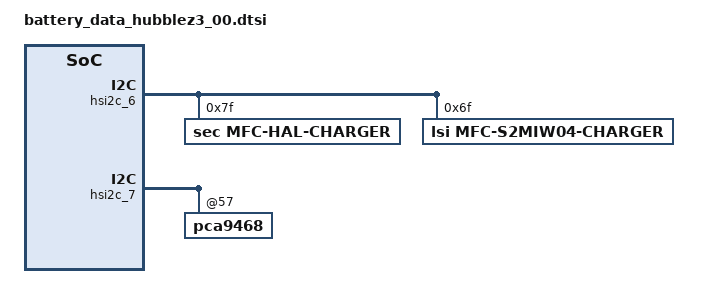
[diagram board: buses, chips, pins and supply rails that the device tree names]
/* SAMSUNG UNIVERSAL9830 board device tree source
 *
 * Copyright (c) 2018 Samsung Electronics Co., Ltd.
 *		http://www.samsung.com
 *
 * This program is free software; you can redistribute it and/or modify
 * it under the terms of the GNU General Public License version 2 as
 * published by the Free Software Foundation.
 */

#include "battery_data_hubble_common.dtsi"

/ {
	fragment@battery {
		target-path = "/";
		__overlay__ {
			battery {
				battery,temp_table_adc = <319 366 423 491 569 663 769 895 1039 1202 1376 1580
					1794 2034 2276 2506 2738 2950 3152 3327 3466 3595 3695>;
				battery,temp_table_data = <900 850 800 750 700 650 600 550 500 450 400 350
					300 250 200 150 100 50 0 (-50) (-100) (-150) (-200)>;

				battery,usb_temp_table_adc = <299 349 410 481 562 659 769 898 1042 1207 1385 1585
					1799 2032 2267 2498 2720 2927 3118 3286 3409 3544 3625>;
				battery,usb_temp_table_data = <900 850 800 750 700 650 600 550 500 450 400 350
					300 250 200 150 100 50 0 (-50) (-100) (-150) (-200)>;

				battery,chg_temp_table_adc = <272 320 378 447 528 619 727 854 998 1163 1336 1538
					1757 1998 2245 2480 2703 2922 3122 3303 3449 3585 3667>;
				battery,chg_temp_table_data = <900 850 800 750 700 650 600 550 500 450 400 350
					300 250 200 150 100 50 0 (-50) (-100) (-150) (-200)>;

				battery,wpc_temp_table_adc = <319 366 423 491 569 663 769 895 1039 1202 1376 1580
					1794 2034 2276 2506 2738 2950 3152 3327 3466 3595 3695>;
				battery,wpc_temp_table_data = <900 850 800 750 700 650 600 550 500 450 400 350
					300 250 200 150 100 50 0 (-50) (-100) (-150) (-200)>;

				battery,dchg_temp_table_adc = <107916 129030 154836 185334 220524 262752 309672 363630 429318 502044 579462 670956
					767142 875058 985320 1090890 1191768 1287954 1379448 1459212 1527246 1585896 1632816>;
				battery,dchg_temp_table_data = <900 850 800 750 700 650 600 550 500 450 400 350
					300 250 200 150 100 50 0 (-50) (-100) (-150) (-200)>;

				battery,swelling_low_temp_current = <1150>;	/* 0.24C */
				battery,swelling_low_temp_current_2nd = <450>;	/* 0.1C */
				battery,swelling_low_temp_current_3rd = <3450>;	/* 0.72C */
				battery,swelling_low_temp_topoff = <242>;	/* 0.05C */
				battery,swelling_high_temp_current = <1700>;	/* 0.36C */
				battery,swelling_high_temp_topoff = <242>;	/* 0.05C */
				battery,swelling_wc_high_temp_current = <1150>;	/* 0.24C */
				battery,swelling_wc_low_temp_current = <1150>;	/* 0.24C */
 				battery,swelling_wc_low_temp_current_2nd = <450>;	/* 0.1C */
				battery,swelling_wc_low_temp_current_3rd = <3450>;	/* 0.72C */

				battery,max_charging_charge_power = <45000>; /* 45W */
				battery,battery_full_capacity = <5000>;

				battery,dchg_high_temp = <570>;
				battery,dchg_high_temp_recovery = <440>;

				battery,dc_step_chg_cond_vol = <4130 4290 4380>; /*<45w 3step> STEP_CHARGING_CONDITION_VOLTAGE */ 
				battery,dc_step_chg_cond_iin = <3160 2255 0>; /* <45w 3step> STEP_CHARGING_CONDITION_INPUT_CURRENT */
				battery,dc_step_chg_val_vfloat = <4130 4290 4380>; /* <45w 3step> STEP_CHARGING_CONDITION_FLOAT_VOLTAGE */
				battery,dc_step_chg_val_iout = <8000 6320 4510>; /* <45w 3step> */
				battery,dc_step_chg_cond_soc = <20 60 100>; /* <45w 3step> STEP_CHARGING_CONDITION_SOC */

				battery,full_condition_vcell = <4330>;
				/* cycle, chg_float_voltage, recharge_condition_vcell, full_condition_vcell, full_condition_soc, step charging condition */
				battery,age_data = <0 4380 4310 4330 93 45
						300 4360 4290 4310 92 45
						400 4340 4270 4290 91 45
						700 4320 4250 4270 90 45
						1000 4270 4200 4220 89 45>;
			};

			max77705-fuelgauge {
				fuelgauge,fg_resistor = <5>;
				fuelgauge,qrtable20 = <0x1000>;
				fuelgauge,qrtable30 = <0x0B00>;
				fuelgauge,capacity = <0x0708>;
				fuelgauge,ttf_capacity = <5000>;
			};

			cable-info {
				full_check_current_1st = <727>;
				full_check_current_2nd = <242>;
			};
		};
	};
};

&hsi2c_6 {
	mfc-hal-charger@7f {
		compatible = "sec,mfc-hal-charger";
		reg = <0x7f>;
		status = "okay";

		battery,wpc_det = <&gpa2 0 0>;

		battery,charger_name = "max77705-charger";
	};

	mfc-s2miw04-charger@3b {
		compatible = "lsi,mfc-s2miw04-charger";
		reg = <0x6f>;
		status = "okay";

		pinctrl-names = "default";
		pinctrl-0 = <&pdet_b &wpc_det &ping_nen &wchg_pdrc &wpc_en &wpc_int>;

		battery,wpc_int = <&gpa3 1 0>;
		battery,wpc_det = <&gpa2 0 0>;
		battery,pdet_b = <&gpa2 6 0>;
		battery,mst_pwr_en = <&gpm18 0 0>;
		battery,ping_nen = <&gpa2 1 0>;
		battery,wpc_pdrc = <&gpa4 1 0>;

		battery,charger_name = "max77705-charger";
		battery,fuelgauge_name = "max77705-fuelgauge";
		battery,wireless_charger_name = "mfc-charger";
		battery,fod_data = <0x06 0xAA 0x06 0xAA 0x06 0xAA 0x06 0x99 0x06 0x99 0x06 0x99 0x0C 0x85 0x0C 0x85 0x08 0x9E 0x08 0x9E>;
		battery,fod_data_cv = <0x06 0xAA 0x06 0xAA 0x06 0xAA 0x06 0x99 0x06 0x99 0x06 0x99 0x0C 0x85 0x0C 0x85 0x08 0x9E 0x08 0x9E>;
		battery,fod_hero_5v_data = <0x06 0xAA 0x06 0xAA 0x06 0xAA 0x06 0x99 0x06 0x99 0x06 0x99 0x0C 0x85 0x0C 0x85 0x08 0x9E 0x08 0x9E>;
		battery,fod_dream_data = <0x06 0xAA 0x06 0xAA 0x06 0xAA 0x06 0x99 0x06 0x99 0x06 0x99 0x0C 0x85 0x0C 0x85 0x08 0x9E 0x08 0x9E>;
		battery,fod_dream_cv_data = <0x06 0xAA 0x06 0xAA 0x06 0xAA 0x06 0x99 0x06 0x99 0x06 0x99 0x0C 0x85 0x0C 0x85 0x08 0x9E 0x08 0x9E>;
		battery,wc_cover_rpp = <0x44>;
		battery,phone_fod_threshold = <0x3b>;
		battery,oc_fod1 = <1100>;
		battery,wireless20_vout_list = <9 9 9>; /* WIRELESS_VOUT_11V, 11V, 11V */
		battery,wireless20_vrect_list = <10 11 11>; /* MFC_AFC_CONF_12V_TX, 12.5V, 12.5V */
		battery,wireless20_max_power_list = <2 3 3>; /* SEC_WIRELESS_RX_POWER_12W, 15W, 15W */
	};
};

&hsi2c_7 {
	pca9468@57 {
		pca9468,input-itopoff = <400000>; /* 400mA */
	};
};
